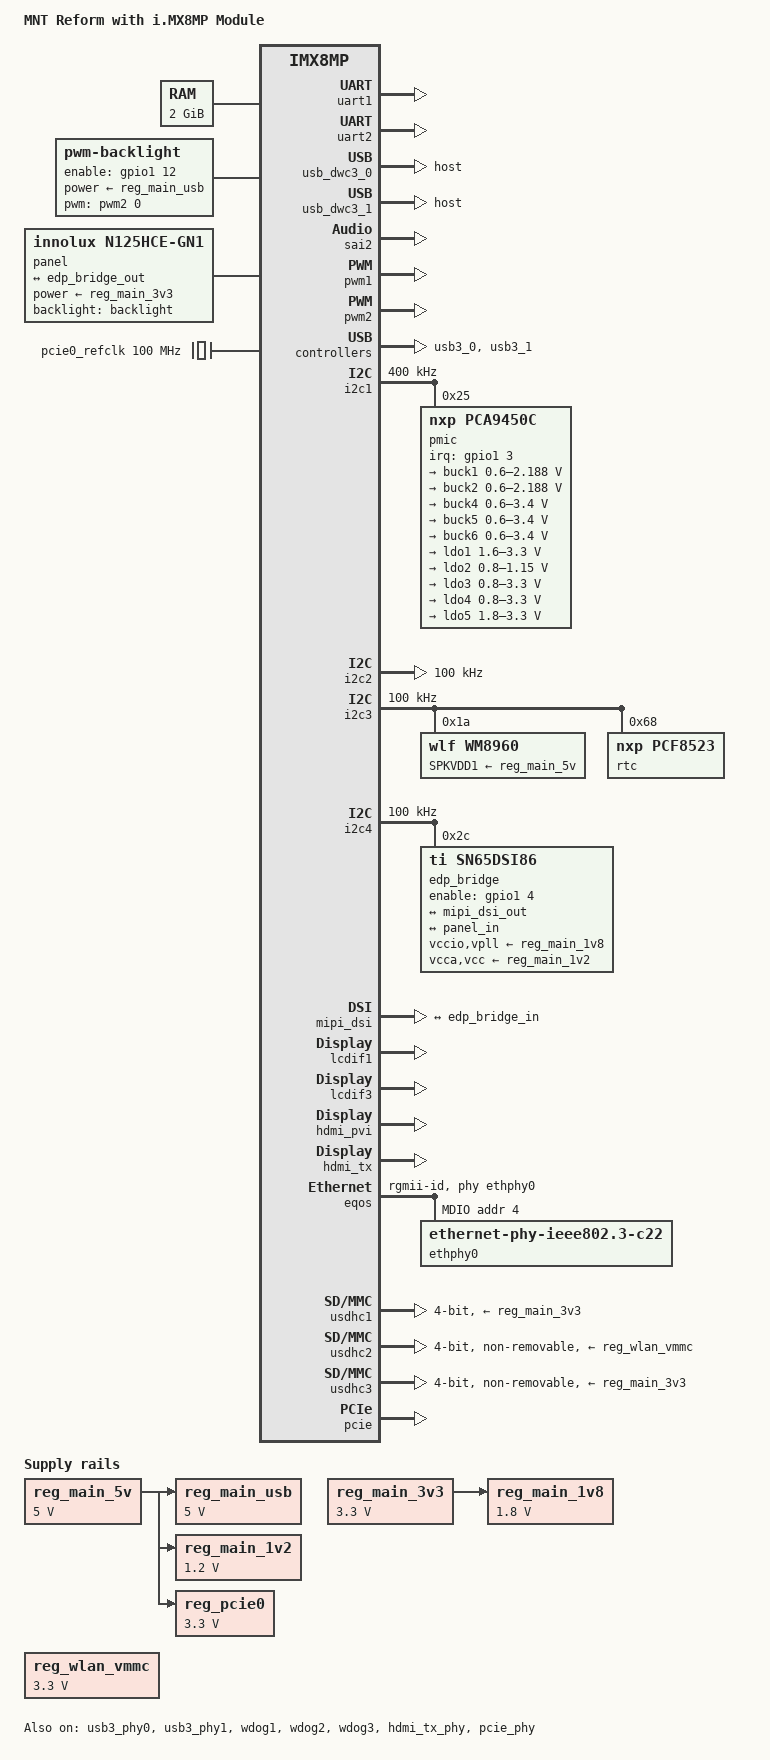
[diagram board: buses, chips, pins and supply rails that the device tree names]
// SPDX-License-Identifier: (GPL-2.0+ OR MIT)

/*
 * Copyright 2019-2023 MNT Research GmbH
 * Copyright 2021 Lucas Stach <dev@lynxeye.de>
 * Copyright 2020 Boundary Devices
*/

// see also:	https://github.com/boundarydevices/linux/blob/boundary-imx_5.15.y/arch/arm64/boot/dts/freescale/imx8mp-nitrogen8mp.dts

/dts-v1/;

#include <dt-bindings/phy/phy-imx8-pcie.h>
#include "imx8mp.dtsi"

&iomuxc {
	pinctrl_eqos: eqosgrp {
		fsl,pins = <
			MX8MP_IOMUXC_ENET_MDC__ENET_QOS_MDC		0x20
			MX8MP_IOMUXC_ENET_MDIO__ENET_QOS_MDIO		0xa0
			MX8MP_IOMUXC_ENET_TX_CTL__ENET_QOS_RGMII_TX_CTL	0x1f
			MX8MP_IOMUXC_ENET_TXC__CCM_ENET_QOS_CLOCK_GENERATE_TX_CLK	0x1f
			MX8MP_IOMUXC_ENET_TD0__ENET_QOS_RGMII_TD0		0x1f
			MX8MP_IOMUXC_ENET_TD1__ENET_QOS_RGMII_TD1		0x1f
			MX8MP_IOMUXC_ENET_TD2__ENET_QOS_RGMII_TD2		0x1f
			MX8MP_IOMUXC_ENET_TD3__ENET_QOS_RGMII_TD3		0x1f

			MX8MP_IOMUXC_ENET_RX_CTL__ENET_QOS_RGMII_RX_CTL	0x91
			MX8MP_IOMUXC_ENET_RXC__CCM_ENET_QOS_CLOCK_GENERATE_RX_CLK	0x91
			MX8MP_IOMUXC_ENET_RD0__ENET_QOS_RGMII_RD0	0x91
			MX8MP_IOMUXC_ENET_RD1__ENET_QOS_RGMII_RD1	0x91
			MX8MP_IOMUXC_ENET_RD2__ENET_QOS_RGMII_RD2	0x91
			MX8MP_IOMUXC_ENET_RD3__ENET_QOS_RGMII_RD3	0x91
#define GP_EQOS_RESET	<&gpio3 16 GPIO_ACTIVE_LOW>
			MX8MP_IOMUXC_NAND_READY_B__GPIO3_IO16		0x100
#define GPIRQ_EQOS_PHY	<&gpio3 2 IRQ_TYPE_LEVEL_LOW>
			MX8MP_IOMUXC_NAND_CE1_B__GPIO3_IO02		0x10
		>;
	};

	/*pinctrl_fec: fecgrp {
		fsl,pins = <
			MX8MP_IOMUXC_SAI1_RXD2__ENET1_MDC		0x0
			MX8MP_IOMUXC_SAI1_RXD3__ENET1_MDIO		0xa0
			MX8MP_IOMUXC_SAI1_TXD4__ENET1_RGMII_TX_CTL	0x1f
			MX8MP_IOMUXC_SAI1_TXD5__ENET1_RGMII_TXC		0x1f
			MX8MP_IOMUXC_SAI1_TXD0__ENET1_RGMII_TD0		0x1f
			MX8MP_IOMUXC_SAI1_TXD1__ENET1_RGMII_TD1		0x1f
			MX8MP_IOMUXC_SAI1_TXD2__ENET1_RGMII_TD2		0x1f
			MX8MP_IOMUXC_SAI1_TXD3__ENET1_RGMII_TD3		0x1f

			MX8MP_IOMUXC_SAI1_TXFS__ENET1_RGMII_RX_CTL	0x91
			MX8MP_IOMUXC_SAI1_TXC__ENET1_RGMII_RXC		0x91
			MX8MP_IOMUXC_SAI1_RXD4__ENET1_RGMII_RD0		0x91
			MX8MP_IOMUXC_SAI1_RXD5__ENET1_RGMII_RD1		0x91
			MX8MP_IOMUXC_SAI1_RXD6__ENET1_RGMII_RD2		0x91
			MX8MP_IOMUXC_SAI1_RXD7__ENET1_RGMII_RD3		0x91
#define GP_FEC_RESET	<&gpio5 8 GPIO_ACTIVE_LOW>
			MX8MP_IOMUXC_ECSPI1_MISO__GPIO5_IO08		0x100
#define GPIRQ_FEC_PHY	<&gpio1 7 IRQ_TYPE_LEVEL_LOW>
			MX8MP_IOMUXC_GPIO1_IO07__GPIO1_IO07		0x10
		>;
	};*/

	pinctrl_hog: hoggrp {
		fsl,pins = <
			//MX8MP_IOMUXC_NAND_DATA01__GPIO3_IO07		0x119			/* J31 */
			MX8MP_IOMUXC_SPDIF_RX__GPIO5_IO04		0x41	/* Pin 17 */
			MX8MP_IOMUXC_SPDIF_EXT_CLK__GPIO5_IO05		0x41	/* Pin 19 */
			MX8MP_IOMUXC_SPDIF_TX__GPIO5_IO03		0x41	/* Pin 21 */
			MX8MP_IOMUXC_SD1_RESET_B__GPIO2_IO10		0x41	/* Pin 23 */
			MX8MP_IOMUXC_SD1_DATA6__GPIO2_IO08		0x41	/* Pin 25 */
			MX8MP_IOMUXC_SD1_DATA5__GPIO2_IO07		0x41	/* Pin 29 */
			MX8MP_IOMUXC_SD1_DATA4__GPIO2_IO06		0x41	/* Pin 31 */
			MX8MP_IOMUXC_SAI1_MCLK__GPIO4_IO20		0x16	/* Pin 2 */
			MX8MP_IOMUXC_SAI1_TXD7__GPIO4_IO19		0x1c4	/* Pin 4 */
		>;
	};

	pinctrl_hdmi: hdmigrp {
		fsl,pins = <
			MX8MP_IOMUXC_HDMI_DDC_SCL__HDMIMIX_HDMI_SCL	0x1c3
			MX8MP_IOMUXC_HDMI_DDC_SDA__HDMIMIX_HDMI_SDA	0x1c3
			MX8MP_IOMUXC_HDMI_HPD__HDMIMIX_HDMI_HPD		0x19
			MX8MP_IOMUXC_HDMI_CEC__HDMIMIX_HDMI_CEC		0x19
		>;
	};

	pinctrl_bt_rfkill: bt-rfkillgrp {
		fsl,pins = <
#define GP_BT_RFKILL_RESET	<&gpio3 9 GPIO_ACTIVE_LOW>
			MX8MP_IOMUXC_NAND_DATA03__GPIO3_IO09	0x119
		>;
	};

	pinctrl_ecspi2: ecspi2grp {
		fsl,pins = <
			/* J31 */
			MX8MP_IOMUXC_ECSPI2_SCLK__ECSPI2_SCLK		0x82	/* Pin 20 */
			MX8MP_IOMUXC_ECSPI2_MOSI__ECSPI2_MOSI		0x82	/* Pin 10 */
			MX8MP_IOMUXC_ECSPI2_MISO__ECSPI2_MISO		0x82	/* Pin 8 */
#define GP_ECSPI2_CS	<&gpio5 13 GPIO_ACTIVE_LOW>
			MX8MP_IOMUXC_ECSPI2_SS0__GPIO5_IO13		0x143	/* Pin 6 */
		>;
	};

	pinctrl_i2c1: i2c1grp {
		fsl,pins = <
			MX8MP_IOMUXC_I2C1_SCL__I2C1_SCL		0x400001c3
			MX8MP_IOMUXC_I2C1_SDA__I2C1_SDA		0x400001c3
		>;
	};

	pinctrl_i2c1_1: i2c1-1grp {
		fsl,pins = <
#define GP_I2C1_SCL	<&gpio5 14 GPIO_OPEN_DRAIN>
			MX8MP_IOMUXC_I2C1_SCL__GPIO5_IO14					0x1c3
#define GP_I2C1_SDA	<&gpio5 15 GPIO_OPEN_DRAIN>
			MX8MP_IOMUXC_I2C1_SDA__GPIO5_IO15					0x1c3
		>;
	};

	pinctrl_i2c2: i2c2grp {
		fsl,pins = <
			MX8MP_IOMUXC_I2C2_SCL__I2C2_SCL			0x400001c3
			MX8MP_IOMUXC_I2C2_SDA__I2C2_SDA			0x400001c3
		>;
	};

	pinctrl_i2c2_1: i2c2-1grp {
		fsl,pins = <
#define GP_I2C2_SCL	<&gpio5 16 GPIO_OPEN_DRAIN>
			MX8MP_IOMUXC_I2C2_SCL__GPIO5_IO16					0x1c3
#define GP_I2C2_SDA	<&gpio5 17 GPIO_OPEN_DRAIN>
			MX8MP_IOMUXC_I2C2_SDA__GPIO5_IO17					0x1c3
		>;
	};

	pinctrl_i2c3: i2c3grp {
		fsl,pins = <
			MX8MP_IOMUXC_I2C3_SCL__I2C3_SCL			0x400001c3
			MX8MP_IOMUXC_I2C3_SDA__I2C3_SDA			0x400001c3
		>;
	};

	pinctrl_i2c3_1: i2c3-1grp {
		fsl,pins = <
#define GP_I2C3_SCL	<&gpio5 18 GPIO_OPEN_DRAIN>
			MX8MP_IOMUXC_I2C3_SCL__GPIO5_IO18					0x1c3
#define GP_I2C3_SDA	<&gpio5 19 GPIO_OPEN_DRAIN>
			MX8MP_IOMUXC_I2C3_SDA__GPIO5_IO19					0x1c3
		>;
	};

	pinctrl_i2c4: i2c4grp {
		fsl,pins = <
			MX8MP_IOMUXC_I2C4_SCL__I2C4_SCL			0x400001c3
			MX8MP_IOMUXC_I2C4_SDA__I2C4_SDA			0x400001c3
		>;
	};

	pinctrl_i2c4_1: i2c4-1grp {
		fsl,pins = <
#define GP_I2C4_SCL	<&gpio5 20 GPIO_OPEN_DRAIN>
			MX8MP_IOMUXC_I2C4_SCL__GPIO5_IO20					0x1c3
#define GP_I2C4_SDA	<&gpio5 21 GPIO_OPEN_DRAIN>
			MX8MP_IOMUXC_I2C4_SDA__GPIO5_IO21					0x1c3
		>;
	};

	pinctrl_reg_wlan_vmmc: reg-wlan-vmmcgrp {
		fsl,pins = <
#define GP_REG_WLAN_VMMC	<&gpio2 19 GPIO_ACTIVE_HIGH>
			MX8MP_IOMUXC_SD2_RESET_B__GPIO2_IO19	0x16
		>;
	};

	pinctrl_sai2: sai2grp {
		fsl,pins = <
			/* WM8960 */
			MX8MP_IOMUXC_SAI2_TXFS__AUDIOMIX_SAI2_TX_SYNC	0xd6
			MX8MP_IOMUXC_SAI2_RXFS__AUDIOMIX_SAI2_RX_SYNC	0xd6
			MX8MP_IOMUXC_SAI2_TXC__AUDIOMIX_SAI2_TX_BCLK	0xd6
			MX8MP_IOMUXC_SAI2_RXC__AUDIOMIX_SAI2_RX_BCLK	0xd6
			MX8MP_IOMUXC_SAI2_RXD0__AUDIOMIX_SAI2_RX_DATA00	0xd6
			MX8MP_IOMUXC_SAI2_TXD0__AUDIOMIX_SAI2_TX_DATA00	0xd6
			MX8MP_IOMUXC_SAI2_MCLK__AUDIOMIX_SAI2_MCLK	0xd6
		>;
	};

	pinctrl_pcie: pciegrp {
		fsl,pins = <
#define GP_PCIE_RESET	<&gpio1 11 GPIO_ACTIVE_LOW>
			MX8MP_IOMUXC_GPIO1_IO11__GPIO1_IO11	0x41
/*#define GP_PCIE_DISABLE	<&gpio4 26 GPIO_ACTIVE_LOW>
			MX8MP_IOMUXC_SAI2_TXD0__GPIO4_IO26	0x41*/
		>;
	};

	pinctrl_pmic: pmicirq {
		fsl,pins = <
#define GPIRQ_PMIC	<&gpio3 0 IRQ_TYPE_LEVEL_LOW>
			MX8MP_IOMUXC_NAND_ALE__GPIO3_IO00	0x41
		>;
	};

 /* pinctrl_pwm1: pwm1grp {
		fsl,pins = <
		//MX8MP_IOMUXC_GPIO1_IO01__PWM1_OUT	0x100
		//MX8MP_IOMUXC_GPIO1_IO10__GPIO1_IO10	0x149
		// backlight enable
		//MX8MP_IOMUXC_GPIO1_IO07__GPIO1_IO07		0x100
		>;
	};*/

	pinctrl_edp_bridge: edpbridgegrp {
		fsl,pins = <
			MX8MP_IOMUXC_GPIO1_IO04__GPIO1_IO04 0x100
		>;
	};

	pinctrl_uart1: uart1grp {
		fsl,pins = <
			MX8MP_IOMUXC_UART1_RXD__UART1_DCE_RX	0x140
			MX8MP_IOMUXC_UART1_TXD__UART1_DCE_TX	0x140
			MX8MP_IOMUXC_UART3_RXD__UART1_DCE_CTS	0x140
			MX8MP_IOMUXC_UART3_TXD__UART1_DCE_RTS	0x140
		>;
	};

	pinctrl_uart2: uart2grp {
		fsl,pins = <
			MX8MP_IOMUXC_UART2_RXD__UART2_DCE_RX	0x140
			MX8MP_IOMUXC_UART2_TXD__UART2_DCE_TX	0x140
		>;
	};

	pinctrl_uart3: uart3grp {
		fsl,pins = <
			MX8MP_IOMUXC_ECSPI1_SCLK__UART3_DCE_RX	0x140
			MX8MP_IOMUXC_ECSPI1_MOSI__UART3_DCE_TX	0x140
		>;
	};

	pinctrl_uart4: uart4grp {
		fsl,pins = <
			MX8MP_IOMUXC_UART4_RXD__UART4_DCE_RX	0x140
			MX8MP_IOMUXC_UART4_TXD__UART4_DCE_TX	0x140
		>;
	};

	pinctrl_usdhc1: usdhc1grp {
		fsl,pins = <
			MX8MP_IOMUXC_SD1_CLK__USDHC1_CLK	0x190
			MX8MP_IOMUXC_SD1_CMD__USDHC1_CMD	0x1d0
			MX8MP_IOMUXC_SD1_DATA0__USDHC1_DATA0	0x1d0
			MX8MP_IOMUXC_SD1_DATA1__USDHC1_DATA1	0x1d0
			MX8MP_IOMUXC_SD1_DATA2__USDHC1_DATA2	0x1d0
			MX8MP_IOMUXC_SD1_DATA3__USDHC1_DATA3	0x1d0
			//MX8MP_IOMUXC_GPIO1_IO03__USDHC1_VSELECT	0x116
		>;
	};

	pinctrl_usdhc1_100mhz: usdhc1grp-100mhz {
		fsl,pins = <
			MX8MP_IOMUXC_SD1_CLK__USDHC1_CLK	0x194
			MX8MP_IOMUXC_SD1_CMD__USDHC1_CMD	0x1d4
			MX8MP_IOMUXC_SD1_DATA0__USDHC1_DATA0	0x1d4
			MX8MP_IOMUXC_SD1_DATA1__USDHC1_DATA1	0x1d4
			MX8MP_IOMUXC_SD1_DATA2__USDHC1_DATA2	0x1d4
			MX8MP_IOMUXC_SD1_DATA3__USDHC1_DATA3	0x1d4
		>;
	};

	pinctrl_usdhc1_200mhz: usdhc1grp-200mhz {
		fsl,pins = <
			MX8MP_IOMUXC_SD1_CLK__USDHC1_CLK	0x196
			MX8MP_IOMUXC_SD1_CMD__USDHC1_CMD	0x1d6
			MX8MP_IOMUXC_SD1_DATA0__USDHC1_DATA0	0x1d6
			MX8MP_IOMUXC_SD1_DATA1__USDHC1_DATA1	0x1d6
			MX8MP_IOMUXC_SD1_DATA2__USDHC1_DATA2	0x1d6
			MX8MP_IOMUXC_SD1_DATA3__USDHC1_DATA3	0x1d6
		>;
	};

	pinctrl_usdhc1_gpio: usdhc1grp-gpio {
		fsl,pins = <
#define GP_USDHC1_CD	<&gpio2 11 GPIO_ACTIVE_LOW>
			MX8MP_IOMUXC_SD1_STROBE__GPIO2_IO11	0x1c4
		>;
	};

	pinctrl_usdhc2: usdhc2grp {
		fsl,pins = <
			MX8MP_IOMUXC_SD2_CLK__USDHC2_CLK	0x190
			MX8MP_IOMUXC_SD2_CMD__USDHC2_CMD	0x1d0
			MX8MP_IOMUXC_SD2_DATA0__USDHC2_DATA0	0x1d0
			MX8MP_IOMUXC_SD2_DATA1__USDHC2_DATA1	0x1d0
			MX8MP_IOMUXC_SD2_DATA2__USDHC2_DATA2	0x1d0
			MX8MP_IOMUXC_SD2_DATA3__USDHC2_DATA3	0x1d0
		>;
	};

	pinctrl_usdhc2_100mhz: usdhc2grp100mhz {
		fsl,pins = <
			MX8MP_IOMUXC_SD2_CLK__USDHC2_CLK	0x194
			MX8MP_IOMUXC_SD2_CMD__USDHC2_CMD	0x1d4
			MX8MP_IOMUXC_SD2_DATA0__USDHC2_DATA0	0x1d4
			MX8MP_IOMUXC_SD2_DATA1__USDHC2_DATA1	0x1d4
			MX8MP_IOMUXC_SD2_DATA2__USDHC2_DATA2	0x1d4
			MX8MP_IOMUXC_SD2_DATA3__USDHC2_DATA3	0x1d4
		>;
	};

	pinctrl_usdhc2_200mhz: usdhc2grp200mhz {
		fsl,pins = <
			MX8MP_IOMUXC_SD2_CLK__USDHC2_CLK	0x196
			MX8MP_IOMUXC_SD2_CMD__USDHC2_CMD	0x1d6
			MX8MP_IOMUXC_SD2_DATA0__USDHC2_DATA0	0x1d6
			MX8MP_IOMUXC_SD2_DATA1__USDHC2_DATA1	0x1d6
			MX8MP_IOMUXC_SD2_DATA2__USDHC2_DATA2	0x1d6
			MX8MP_IOMUXC_SD2_DATA3__USDHC2_DATA3	0x1d6
		>;
	};

	pinctrl_usdhc3: usdhc3grp {
		fsl,pins = <
			MX8MP_IOMUXC_NAND_WE_B__USDHC3_CLK	0x190
			MX8MP_IOMUXC_NAND_WP_B__USDHC3_CMD	0x1d0
			MX8MP_IOMUXC_NAND_DATA04__USDHC3_DATA0	0x1d0
			MX8MP_IOMUXC_NAND_DATA05__USDHC3_DATA1	0x1d0
			MX8MP_IOMUXC_NAND_DATA06__USDHC3_DATA2	0x1d0
			MX8MP_IOMUXC_NAND_DATA07__USDHC3_DATA3	0x1d0
			MX8MP_IOMUXC_NAND_RE_B__USDHC3_DATA4	0x1d0
			MX8MP_IOMUXC_NAND_CE2_B__USDHC3_DATA5	0x1d0
			MX8MP_IOMUXC_NAND_CE3_B__USDHC3_DATA6	0x1d0
			MX8MP_IOMUXC_NAND_CLE__USDHC3_DATA7	0x1d0
#define GP_EMMC_RESET	<&gpio3 1 IRQ_TYPE_LEVEL_LOW>
			MX8MP_IOMUXC_NAND_CE0_B__GPIO3_IO01	0x140
		>;
	};

	pinctrl_usdhc3_100mhz: usdhc3grp-100mhz {
		fsl,pins = <
			MX8MP_IOMUXC_NAND_WE_B__USDHC3_CLK	0x194
			MX8MP_IOMUXC_NAND_WP_B__USDHC3_CMD	0x1d4
			MX8MP_IOMUXC_NAND_DATA04__USDHC3_DATA0	0x1d4
			MX8MP_IOMUXC_NAND_DATA05__USDHC3_DATA1	0x1d4
			MX8MP_IOMUXC_NAND_DATA06__USDHC3_DATA2	0x1d4
			MX8MP_IOMUXC_NAND_DATA07__USDHC3_DATA3	0x1d4
			MX8MP_IOMUXC_NAND_RE_B__USDHC3_DATA4	0x1d4
			MX8MP_IOMUXC_NAND_CE2_B__USDHC3_DATA5	0x1d4
			MX8MP_IOMUXC_NAND_CE3_B__USDHC3_DATA6	0x1d4
			MX8MP_IOMUXC_NAND_CLE__USDHC3_DATA7	0x1d4
		>;
	};

	pinctrl_usdhc3_200mhz: usdhc3grp-200mhz {
		fsl,pins = <
			MX8MP_IOMUXC_NAND_WE_B__USDHC3_CLK	0x196
			MX8MP_IOMUXC_NAND_WP_B__USDHC3_CMD	0x1d6
			MX8MP_IOMUXC_NAND_DATA04__USDHC3_DATA0	0x1d6
			MX8MP_IOMUXC_NAND_DATA05__USDHC3_DATA1	0x1d6
			MX8MP_IOMUXC_NAND_DATA06__USDHC3_DATA2	0x1d6
			MX8MP_IOMUXC_NAND_DATA07__USDHC3_DATA3	0x1d6
			MX8MP_IOMUXC_NAND_RE_B__USDHC3_DATA4	0x1d6
			MX8MP_IOMUXC_NAND_CE2_B__USDHC3_DATA5	0x1d6
			MX8MP_IOMUXC_NAND_CE3_B__USDHC3_DATA6	0x1d6
			MX8MP_IOMUXC_NAND_CLE__USDHC3_DATA7	0x1d6
		>;
	};

	pinctrl_wdog: wdoggrp {
		fsl,pins = <
			MX8MP_IOMUXC_GPIO1_IO02__WDOG1_WDOG_B	0xc6
		>;
	};
};

/ {
	model = "MNT Reform with i.MX8MP Module";
	compatible = "mntre,reform2", "boundary,imx8mq-nitrogen8mp-som", "fsl,imx8mp";
	chassis-type = "laptop";

	chosen {
		stdout-path = &uart2;
	};

	memory@40000000 {
		device_type = "memory";
		reg = <0x0 0x40000000 0 0x80000000>;
	};

	bt-rfkill {
		compatible = "net,rfkill-gpio";
		pinctrl-names = "default";
		pinctrl-0 = <&pinctrl_bt_rfkill>;
		name = "bt-rfkill";
		type = <2>; /* Bluetooth */
		reset-gpios = GP_BT_RFKILL_RESET;
		status = "okay";
	};

	backlight: backlight {
		compatible = "pwm-backlight";
		// FIXME
		pwms = <&pwm2 0 10000 0>;
		power-supply = <&reg_main_usb>;
		// FIXME
		//enable-gpios = <&gpio1 7 GPIO_ACTIVE_HIGH>;
		enable-gpios = <&gpio1 12 GPIO_ACTIVE_HIGH>;
		brightness-levels = <0 32 64 128 160 200 255>;
		default-brightness-level = <6>;
	};

	panel {
		compatible = "innolux,n125hce-gn1", "simple-panel";
		power-supply = <&reg_main_3v3>;
		backlight = <&backlight>;
		no-hpd;

		port {
			panel_in: endpoint {
				remote-endpoint = <&edp_bridge_out>;
			};
		};
	};

	pcie0_refclk: pcie0-refclk {
		compatible = "fixed-clock";
		#clock-cells = <0>;
		clock-frequency = <100000000>;
	};

	reg_main_5v: regulator-main-5v {
		compatible = "regulator-fixed";
		regulator-name = "5V";
		regulator-min-microvolt = <5000000>;
		regulator-max-microvolt = <5000000>;
	};

	reg_main_3v3: regulator-main-3v3 {
		compatible = "regulator-fixed";
		regulator-name = "3V3";
		regulator-min-microvolt = <3300000>;
		regulator-max-microvolt = <3300000>;
	};

	reg_main_usb: regulator-main-usb {
		compatible = "regulator-fixed";
		regulator-name = "USB_PWR";
		regulator-min-microvolt = <5000000>;
		regulator-max-microvolt = <5000000>;
		vin-supply = <&reg_main_5v>;
	};

	reg_main_1v8: regulator-main-1v8 {
		compatible = "regulator-fixed";
		regulator-name = "1V8";
		regulator-min-microvolt = <1800000>;
		regulator-max-microvolt = <1800000>;
		vin-supply = <&reg_main_3v3>;
	};

	reg_main_1v2: regulator-main-1v2 {
		compatible = "regulator-fixed";
		regulator-name = "1V2";
		regulator-min-microvolt = <1200000>;
		regulator-max-microvolt = <1200000>;
		vin-supply = <&reg_main_5v>;
	};

	reg_wlan_vmmc: regulator-wlan-vmmc {
		compatible = "regulator-fixed";
		pinctrl-names = "default";
		pinctrl-0 = <&pinctrl_reg_wlan_vmmc>;
		regulator-name = "reg_wlan_vmmc";
		regulator-min-microvolt = <3300000>;
		regulator-max-microvolt = <3300000>;
		gpio = GP_REG_WLAN_VMMC;
		startup-delay-us = <70000>;
		enable-active-high;
	};

	reg_pcie0: regulator-pcie {
		compatible = "regulator-fixed";
		regulator-name = "MPCIE_3V3";
		regulator-min-microvolt = <3300000>;
		regulator-max-microvolt = <3300000>;
		vin-supply = <&reg_main_5v>;
	};

	sound {
		compatible = "fsl,imx-audio-wm8960";
		audio-cpu = <&sai2>;
		audio-codec = <&wm8960>;
		audio-routing =
			"Headphone Jack", "HP_L",
			"Headphone Jack", "HP_R",
			"Ext Spk", "SPK_LP",
			"Ext Spk", "SPK_LN",
			"Ext Spk", "SPK_RP",
			"Ext Spk", "SPK_RN",
			"LINPUT1", "Mic Jack",
			"Mic Jack", "MICB",
			"LINPUT2", "Line In Jack",
			"RINPUT2", "Line In Jack";
		model = "wm8960-audio";
	};
};

&snvs_rtc {
	status = "disabled";
};

&uart1 { /* BT */
	pinctrl-names = "default";
	pinctrl-0 = <&pinctrl_uart1>;
	assigned-clocks = <&clk IMX8MP_CLK_UART1>;
	assigned-clock-parents = <&clk IMX8MP_SYS_PLL1_80M>;
	uart-has-rtscts;
	status = "okay";
};

&uart2 {
	pinctrl-names = "default";
	pinctrl-0 = <&pinctrl_uart2>;
	status = "okay";
};

&usb3_phy0 {
	status = "okay";
};

&usb3_phy1 {
	status = "okay";
};

&usb_dwc3_0 {
	dr_mode = "host";
	status = "okay";
};

&usb_dwc3_1 {
	dr_mode = "host";
	status = "okay";
};

&sai2 {
	pinctrl-names = "default";
	pinctrl-0 = <&pinctrl_sai2>;
	assigned-clocks = <&clk IMX8MP_CLK_SAI2>;
	assigned-clock-parents = <&clk IMX8MP_AUDIO_PLL1_OUT>;
	assigned-clock-rates = <12288000>;
	fsl,sai-mclk-direction-output;
	fsl,sai-asynchronous;
	status = "okay";
};

&pwm1 {
	//pinctrl-names = "default";
	//pinctrl-0 = <&pinctrl_pwm1>;
	status = "okay";
};

&pwm2 {
	//pinctrl-names = "default";
	//pinctrl-0 = <&pinctrl_pwm2>;
	status = "okay";
};

&usb3_0 {
	status = "okay";
};

&usb3_1 {
	status = "okay";
};

&wdog1 {
	pinctrl-names = "default";
	pinctrl-0 = <&pinctrl_wdog>;
	fsl,ext-reset-output;
	timeout-sec = <7200>;
	status = "ok";
};
&wdog2 {
	pinctrl-names = "default";
	pinctrl-0 = <&pinctrl_wdog>;
	fsl,ext-reset-output;
	timeout-sec = <7200>;
	status = "ok";
};
&wdog3 {
	pinctrl-names = "default";
	pinctrl-0 = <&pinctrl_wdog>;
	fsl,ext-reset-output;
	timeout-sec = <7200>;
	status = "ok";
};

&i2c1 {
	clock-frequency = <400000>;
	pinctrl-names = "default", "gpio";
	pinctrl-0 = <&pinctrl_i2c1>;
	pinctrl-1 = <&pinctrl_i2c1_1>;
	scl-gpios = GP_I2C1_SCL;
	sda-gpios = GP_I2C1_SDA;
	status = "okay";

	pmic: pca9450@25 {
		reg = <0x25>;
		compatible = "nxp,pca9450c";
		/* PMIC PCA9450 PMIC_nINT GPIO1_IO3 */
		pinctrl-0 = <&pinctrl_pmic>;
		interrupt-parent = <&gpio1>;
		interrupts = <3 IRQ_TYPE_LEVEL_LOW>;

		regulators {
			buck1: BUCK1 {
				regulator-name = "BUCK1";
				regulator-min-microvolt = <600000>;
				regulator-max-microvolt = <2187500>;
				regulator-boot-on;
				regulator-always-on;
				regulator-ramp-delay = <3125>;
			};

			buck2: BUCK2 {
				regulator-name = "BUCK2";
				regulator-min-microvolt = <600000>;
				regulator-max-microvolt = <2187500>;
				regulator-limit-microvolt = <1025000>;
				regulator-boot-on;
				regulator-always-on;
				regulator-ramp-delay = <3125>;
				nxp,dvs-run-voltage = <950000>;
				nxp,dvs-standby-voltage = <850000>;
			};

			buck4: BUCK4 {
				regulator-name = "BUCK4";
				regulator-min-microvolt = <600000>;
				regulator-max-microvolt = <3400000>;
				regulator-boot-on;
				regulator-always-on;
			};

			buck5: BUCK5 {
				regulator-name = "BUCK5";
				regulator-min-microvolt = <600000>;
				regulator-max-microvolt = <3400000>;
				regulator-boot-on;
				regulator-always-on;
			};

			buck6: BUCK6 {
				regulator-name = "BUCK6";
				regulator-min-microvolt = <600000>;
				regulator-max-microvolt = <3400000>;
				regulator-boot-on;
				regulator-always-on;
			};

			ldo1: LDO1 {
				regulator-name = "LDO1";
				regulator-min-microvolt = <1600000>;
				regulator-max-microvolt = <3300000>;
				regulator-boot-on;
				regulator-always-on;
			};

			ldo2: LDO2 {
				regulator-name = "LDO2";
				regulator-min-microvolt = <800000>;
				regulator-max-microvolt = <1150000>;
				regulator-boot-on;
				regulator-always-on;
			};

			ldo3: LDO3 {
				regulator-name = "LDO3";
				regulator-min-microvolt = <800000>;
				regulator-max-microvolt = <3300000>;
				regulator-boot-on;
				regulator-always-on;
			};

			ldo4: LDO4 {
				regulator-name = "LDO4";
				regulator-min-microvolt = <800000>;
				regulator-max-microvolt = <3300000>;
				regulator-boot-on;
				regulator-always-on;
			};

			ldo5: LDO5 {
				regulator-name = "LDO5";
				regulator-min-microvolt = <1800000>;
				regulator-max-microvolt = <3300000>;
				regulator-boot-on;
				regulator-always-on;
			};
		};
	};
};

&A53_0 {
	cpu-supply = <&buck2>;
};

&A53_1 {
	cpu-supply = <&buck2>;
};

&A53_2 {
	cpu-supply = <&buck2>;
};

&A53_3 {
	cpu-supply = <&buck2>;
};

&i2c2 {
	clock-frequency = <100000>;
	pinctrl-names = "default", "gpio";
	pinctrl-0 = <&pinctrl_i2c2>;
	pinctrl-1 = <&pinctrl_i2c2_1>;
	scl-gpios = GP_I2C2_SCL;
	sda-gpios = GP_I2C2_SDA;
	status = "okay";
};

&i2c3 {
	clock-frequency = <100000>;
	pinctrl-names = "default", "gpio";
	pinctrl-0 = <&pinctrl_i2c3>;
	pinctrl-1 = <&pinctrl_i2c3_1>;
	scl-gpios = GP_I2C3_SCL;
	sda-gpios = GP_I2C3_SDA;
	status = "okay";

	wm8960: codec@1a {
		compatible = "wlf,wm8960";
		reg = <0x1a>;
		clocks = <&audio_blk_ctrl IMX8MP_CLK_AUDIOMIX_SAI2_MCLK1>;
		clock-names = "mclk";
		SPKVDD1-supply = <&reg_main_5v>;
		#sound-dai-cells = <0>;
	};

	rtc@68 {
		compatible = "nxp,pcf8523";
		reg = <0x68>;
	};
};

&i2c4 {
	clock-frequency = <100000>;
	pinctrl-names = "default", "gpio";
	pinctrl-0 = <&pinctrl_i2c4>;
	pinctrl-1 = <&pinctrl_i2c4_1>;
	scl-gpios = GP_I2C4_SCL;
	sda-gpios = GP_I2C4_SDA;
	status = "okay";

	edp_bridge: bridge@2c {
		compatible = "ti,sn65dsi86";
		pinctrl-names = "default";
		pinctrl-0 = <&pinctrl_edp_bridge>;
		reg = <0x2c>;
		enable-gpios = <&gpio1 4 GPIO_ACTIVE_HIGH>;
		vccio-supply = <&reg_main_1v8>;
		vpll-supply = <&reg_main_1v8>;
		vcca-supply = <&reg_main_1v2>;
		vcc-supply = <&reg_main_1v2>;

		ports {
			#address-cells = <1>;
			#size-cells = <0>;

			port@0 {
				reg = <0>;

				edp_bridge_in: endpoint {
					remote-endpoint = <&mipi_dsi_out>;
				};
			};

			port@1 {
				reg = <1>;

				edp_bridge_out: endpoint {
					remote-endpoint = <&panel_in>;
				};
			};
		};
	};
};

&mipi_dsi {
	status = "okay";

	ports {
		#address-cells = <1>;
		#size-cells = <0>;

		port@1 {
			reg = <1>;
			mipi_dsi_out: endpoint {
				remote-endpoint = <&edp_bridge_in>;
			};
		};
	};
};

&lcdif1 {
	status = "okay";
};

&lcdif3 {
	status = "okay";
};

&hdmi_pvi {
	status = "okay";
};

&hdmi_tx {
	pinctrl-names = "default";
	pinctrl-0 = <&pinctrl_hdmi>;
	status = "okay";
};

&hdmi_tx_phy {
	status = "okay";
};

&eqos {
	pinctrl-names = "default";
	pinctrl-0 = <&pinctrl_eqos>;
	phy-mode = "rgmii-id";
	phy-handle = <&ethphy0>;
	status = "okay";

	mdio {
		compatible = "snps,dwmac-mdio";
		#address-cells = <1>;
		#size-cells = <0>;

		ethphy0: ethernet-phy@4 {
			reg = <4>;
			compatible = "ethernet-phy-ieee802.3-c22";
			at803x,hib-disabled;
			eee-broken-1000t;
			interrupts-extended = GPIRQ_EQOS_PHY;
#if 0
			reset-gpios = GP_EQOS_RESET;
#endif
			reg-mask = <0x90>;
		};
	};
};

// apparently FEC can be run via SAI1 pins
/*&fec {
	pinctrl-names = "default";
	pinctrl-0 = <&pinctrl_fec>;
	phy-mode = "rgmii-id";
	phy-handle = <&ethphy1>;
	fsl,magic-packet;
	status = "okay";

	mdio {
		#address-cells = <1>;
		#size-cells = <0>;

		ethphy1: ethernet-phy {
			compatible = "ethernet-phy-ieee802.3-c22";
			eee-broken-1000t;
			interrupts-extended = GPIRQ_FEC_PHY;
			reg-mask = <0x90>;
		};
	};
};*/

// SD Card
&usdhc1 {
	assigned-clocks = <&clk IMX8MP_CLK_USDHC1_ROOT>;
	assigned-clock-rates = <400000000>;
	bus-width = <4>;
	cd-gpios = GP_USDHC1_CD;
	pinctrl-names = "default"; //, "state_100mhz", "state_200mhz";
	pinctrl-0 = <&pinctrl_usdhc1>, <&pinctrl_usdhc1_gpio>;
	pinctrl-1 = <&pinctrl_usdhc1_100mhz>, <&pinctrl_usdhc1_gpio>;
	pinctrl-2 = <&pinctrl_usdhc1_200mhz>, <&pinctrl_usdhc1_gpio>;
	status = "okay";
	vmmc-supply = <&reg_main_3v3>;
	vqmmc-supply = <&reg_main_3v3>;
};

// SDIO (wifi/bt qca9733)
&usdhc2 {
	assigned-clocks = <&clk IMX8MP_CLK_USDHC2_ROOT>;
	assigned-clock-rates = <200000000>;
	bus-width = <4>;
	//fsl,sdio-async-interrupt-enabled; // needs patch https://www.spinics.net/lists/linux-mmc/msg65247.html
	keep-power-in-suspend;
	no-sd-uhs-sdr104;
	sd-uhs-ddr50;
	no-mmc;
	no-sd;
	//no-cqe;
	non-removable;
	cap-sdio-irq;
	pinctrl-names = "default", "state_100mhz", "state_200mhz";
	pinctrl-0 = <&pinctrl_usdhc2>;
	pinctrl-1 = <&pinctrl_usdhc2_100mhz>;
	pinctrl-2 = <&pinctrl_usdhc2_200mhz>;
	pm-ignore-notify;
	status = "okay";
	vmmc-supply = <&reg_wlan_vmmc>;
	vqmmc-1-8-v;
	vqmmc-supply = <&reg_main_1v8>;
};

// emmc
&usdhc3 {
	bus-width = <4>; // FIXME was 8
	no-mmc-hs400;
	non-removable;
	pinctrl-names = "default", "state_100mhz", "state_200mhz";
	pinctrl-0 = <&pinctrl_usdhc3>;
	pinctrl-1 = <&pinctrl_usdhc3_100mhz>;
	pinctrl-2 = <&pinctrl_usdhc3_200mhz>;
	vmmc-supply = <&reg_main_3v3>;
	vqmmc-1-8-v;
	vqmmc-supply = <&reg_main_1v8>;
	status = "okay";
};

&pcie_phy {
	fsl,refclk-pad-mode = <IMX8_PCIE_REFCLK_PAD_OUTPUT>;
	clocks = <&hsio_blk_ctrl>;
	phy-supply = <&reg_pcie0>;
	clock-names = "ref";
	status = "okay";
	fsl,clkreq-unsupported;
};

&pcie {
	pinctrl-names = "default";
	pinctrl-0 = <&pinctrl_pcie>;
	reset-gpio = GP_PCIE_RESET;
	//disable-gpio = GP_PCIE_DISABLE;
	clocks = <&clk IMX8MP_CLK_HSIO_ROOT>,
		 <&clk IMX8MP_CLK_PCIE_ROOT>,
		 <&clk IMX8MP_CLK_HSIO_AXI>;
	clock-names = "pcie", "pcie_aux", "pcie_bus";
	assigned-clocks = <&clk IMX8MP_CLK_PCIE_AUX>;
	assigned-clock-rates = <10000000>;
	assigned-clock-parents = <&clk IMX8MP_SYS_PLL2_50M>;
	vpcie-supply = <&reg_pcie0>;
	vph-supply = <&reg_pcie0>;
	status = "okay";
};
